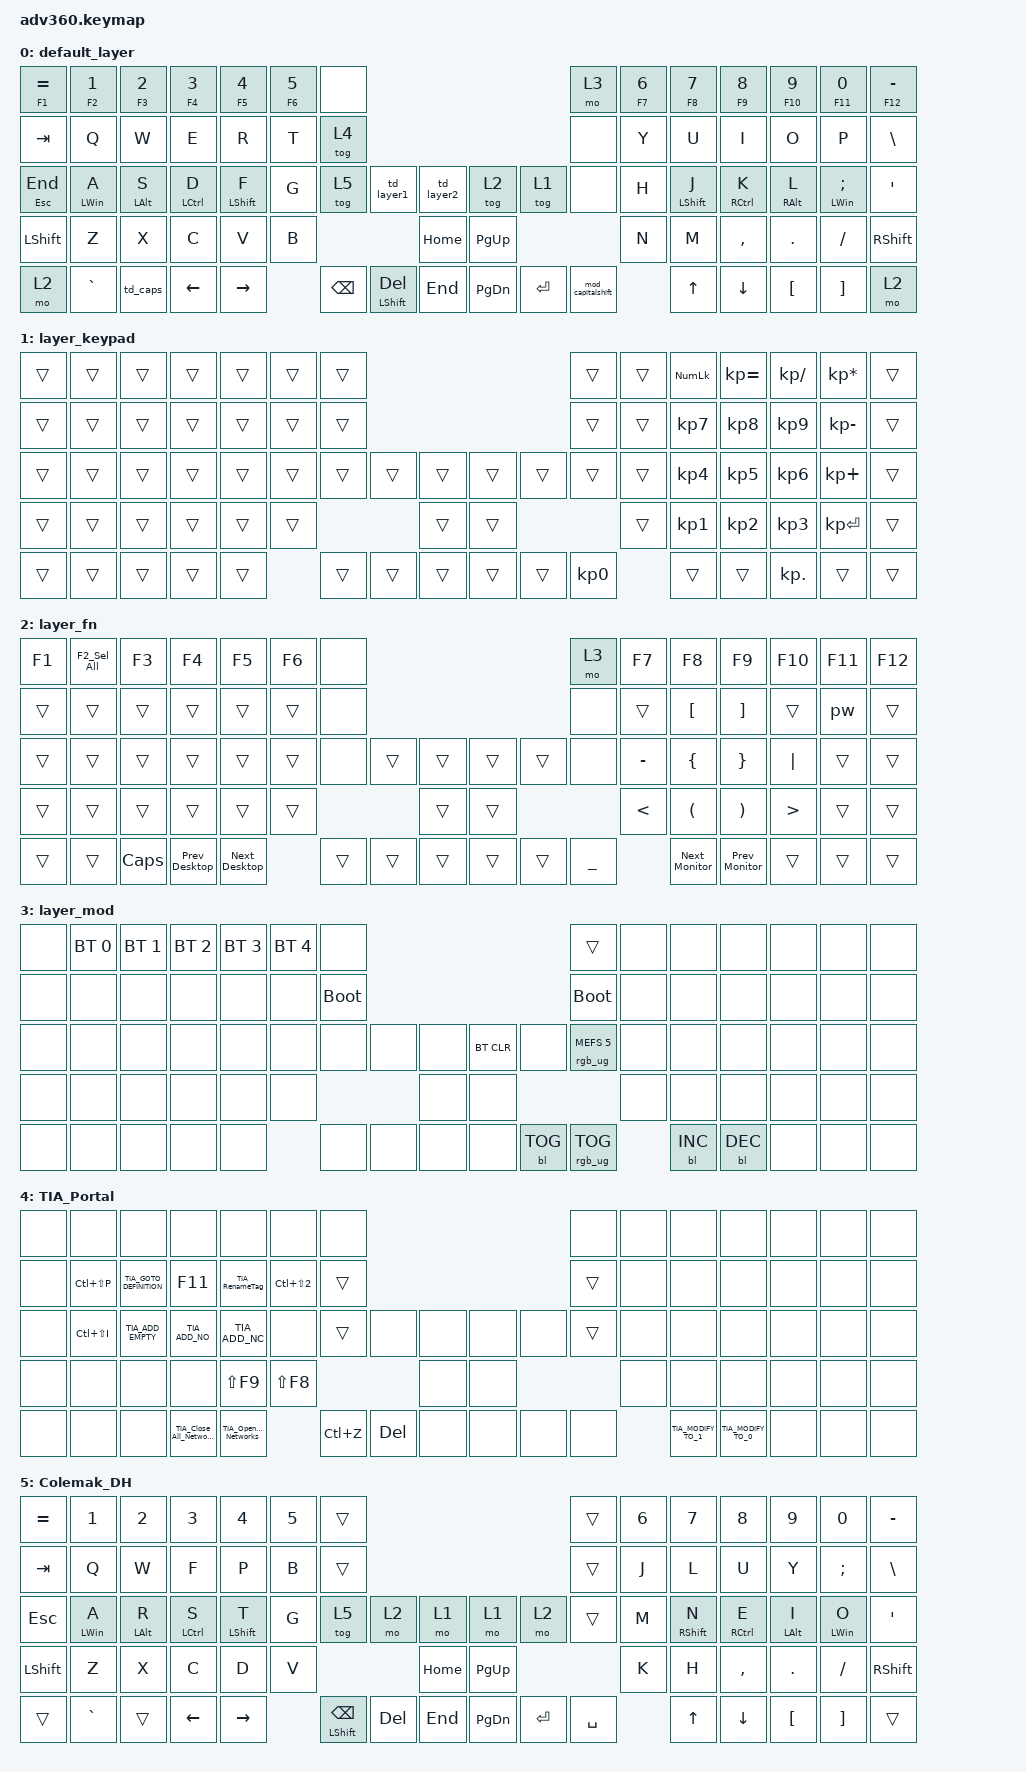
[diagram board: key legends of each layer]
/*
 * Copyright (c) 2020 The ZMK Contributors
 *
 * SPDX-License-Identifier: MIT
 */
/* THIS FILE WAS GENERATED!
 *
 * This file was generated automatically. You may or may not want to
 * edit it directly.
 */

#include <behaviors.dtsi>
#include <dt-bindings/zmk/backlight.h>
#include <dt-bindings/zmk/bt.h>
#include <dt-bindings/zmk/keys.h>
#include <dt-bindings/zmk/rgb.h>

/ {
    behaviors {
        #include "macros.dtsi"
    #include "version.dtsi"

        hm: homerow_mods {
            compatible = "zmk,behavior-hold-tap";
            label = "HOMEROW_MODS";
            #binding-cells = <2>;
            tapping-term-ms = <200>;
            quick_tap_ms = <175>;
            flavor = "tap-preferred";
            bindings = <&kp>, <&kp>;
        };

        mod_capitalshift: mod_capitalshift {
            compatible = "zmk,behavior-mod-morph";
            label = "MOD_CAPITALSHIFT";
            bindings = <&kp SPACE>, <&kp UNDERSCORE>;

            #binding-cells = <0>;
            mods = <(MOD_LSFT)>;
        };

        td_caps: td_caps {
            compatible = "zmk,behavior-tap-dance";
            label = "TD_CAPS";
            #binding-cells = <0>;
            bindings = <&caps_word>, <&kp CAPS>;
        };

        td_layer1: td_layer1 {
            compatible = "zmk,behavior-tap-dance";
            label = "TD_LAYER1";
            #binding-cells = <0>;
            bindings = <&mo 1>, <&tog 1>;
        };

        td_layer2: td_layer2 {
            compatible = "zmk,behavior-tap-dance";
            label = "TD_LAYER2";
            #binding-cells = <0>;
            bindings = <&mo 2>, <&tog 2>;
        };
    };

    macros {
        F2_Sel_All: F2_Sel_All {
            compatible = "zmk,behavior-macro";
            #binding-cells = <0>;
            bindings = <&macro_tap>, <&kp F2 &kp LC(A)>;

            label = "F2_SEL_ALL";
        };

        TIA_RenameTag: TIA_RenameTag {
            compatible = "zmk,behavior-macro";
            #binding-cells = <0>;
            bindings = <&kp LC(LS(T))>;
            label = "TIA_RENAMETAG";
        };

        TIA_Open_All_Networks: TIA_Open_All_Networks {
            compatible = "zmk,behavior-macro";
            #binding-cells = <0>;
            bindings = <&kp LA(F11)>;
            label = "TIA_OPEN_ALL_NETWORKS";
        };

        TIA_Close_All_Networks: TIA_Close_All_Networks {
            compatible = "zmk,behavior-macro";
            #binding-cells = <0>;
            bindings = <&kp LA(F12)>;
            label = "TIA_CLOSE_ALL_NETWORKS";
        };

        TIA_ADD_NO: TIA_ADD_NO {
            compatible = "zmk,behavior-macro";
            #binding-cells = <0>;
            bindings = <&kp F9>;
            label = "TIA_ADD_NO";
        };

        TIA_ADD_EMPTY: TIA_ADD_EMPTY {
            compatible = "zmk,behavior-macro";
            #binding-cells = <0>;
            bindings = <&kp F8>;
            label = "TIA_ADD_EMPTY";
        };

        TIA_ADD_NC: TIA_ADD_NC {
            compatible = "zmk,behavior-macro";
            #binding-cells = <0>;
            bindings = <&kp F10>;
            label = "TIA_ADD_NC";
        };

        TIA_GOTO_DEFINITION: TIA_GOTO_DEFINITION {
            compatible = "zmk,behavior-macro";
            #binding-cells = <0>;
            bindings = <&kp LC(LS(D))>;
            label = "TIA_GOTO_DEFINITION";
        };

        TIA_MODIFY_TO_1: TIA_MODIFY_TO_1 {
            compatible = "zmk,behavior-macro";
            #binding-cells = <0>;
            bindings = <&kp LC(F2)>;
            label = "TIA_MODIFY_TO_1";
        };

        TIA_MODIFY_TO_0: TIA_MODIFY_TO_0 {
            compatible = "zmk,behavior-macro";
            #binding-cells = <0>;
            bindings = <&kp LC(F3)>;
            label = "TIA_MODIFY_TO_0";
        };

        Next_Desktop: Next_Desktop {
            compatible = "zmk,behavior-macro";
            #binding-cells = <0>;
            bindings = <&kp LA(LCTRL) &kp LG(LC(RIGHT))>;
            label = "NEXT_DESKTOP";
        };

        Prev_Desktop: Prev_Desktop {
            compatible = "zmk,behavior-macro";
            #binding-cells = <0>;
            bindings = <&kp LA(LCTRL) &kp LG(LC(LEFT))>;
            label = "PREV_DESKTOP";
        };

        pw: pw {
            compatible = "zmk,behavior-macro";
            #binding-cells = <0>;
            bindings = <&none &kp E &kp N &kp G &kp I &kp N &kp E &kp E &kp R &kp I &kp N &kp G &kp LS(T) &kp E &kp A &kp M &kp N2 &kp N0 &kp N2>;
            label = "PW";
        };

        Next_Monitor: Next_Monitor {
            compatible = "zmk,behavior-macro";
            #binding-cells = <0>;
            bindings = <&kp LA(LCTRL) &kp LG(LS(RIGHT))>;
            label = "NEXT_MONITOR";
        };

        Prev_Monitor: Prev_Monitor {
            compatible = "zmk,behavior-macro";
            #binding-cells = <0>;
            bindings = <&kp LA(LCTRL) &kp LG(LS(LEFT))>;
            label = "PREV_MONITOR";
        };
    };

    keymap {
        compatible = "zmk,keymap";

        default_layer {
            bindings = <
&hm F1 EQUAL  &hm F2 N1       &hm F3 NUMBER_2  &hm F4 NUMBER_3  &hm F5 NUMBER_4   &hm F6 N5  &none                                                                    &mo 3              &hm F7 N6  &hm F8 N7         &hm F9 N8    &hm F10 N9       &hm F11 N0         &hm F12 MINUS
&kp TAB       &kp Q           &kp W            &kp E            &kp R             &kp T      &tog 4                                                                   &none              &kp Y      &kp U             &kp I        &kp O            &kp P              &kp BSLH
&hm ESC END   &hm LEFT_WIN A  &hm LEFT_ALT S   &hm LCTRL D      &hm LEFT_SHIFT F  &kp G      &tog 5         &td_layer1          &td_layer2      &tog 2     &tog 1     &none              &kp H      &hm LEFT_SHIFT J  &hm RCTRL K  &hm RIGHT_ALT L  &hm LEFT_WIN SEMI  &kp SQT
&kp LSHFT     &kp Z           &kp X            &kp C            &kp V             &kp B                                         &kp HOME        &kp PG_UP                                &kp N      &kp M             &kp COMMA    &kp DOT          &kp FSLH           &kp RSHFT
&mo 2         &kp GRAVE       &td_caps         &kp LEFT         &kp RIGHT                    &kp BACKSPACE  &hm LEFT_SHIFT DEL  &kp END         &kp PG_DN  &kp ENTER  &mod_capitalshift             &kp UP            &kp DOWN     &kp LBKT         &kp RBKT           &mo 2
            >;
        };

        layer_keypad {
            bindings = <
&trans  &trans  &trans  &trans  &trans  &trans  &trans                                      &trans     &trans  &kp KP_NUM  &kp KP_EQUAL  &kp KP_DIVIDE  &kp KP_MULTIPLY  &trans
&trans  &trans  &trans  &trans  &trans  &trans  &trans                                      &trans     &trans  &kp KP_N7   &kp KP_N8     &kp KP_N9      &kp KP_MINUS     &trans
&trans  &trans  &trans  &trans  &trans  &trans  &trans  &trans  &trans      &trans  &trans  &trans     &trans  &kp KP_N4   &kp KP_N5     &kp KP_N6      &kp KP_PLUS      &trans
&trans  &trans  &trans  &trans  &trans  &trans                  &trans      &trans                     &trans  &kp KP_N1   &kp KP_N2     &kp KP_N3      &kp KP_ENTER     &trans
&trans  &trans  &trans  &trans  &trans          &trans  &trans  &trans      &trans  &trans  &kp KP_N0          &trans      &trans        &kp KP_DOT     &trans           &trans
            >;
        };

        layer_fn {
            bindings = <
&kp F1  &F2_Sel_All  &kp F3    &kp F4         &kp F5         &kp F6  &none                                       &mo 3           &kp F7         &kp F8                &kp F9                 &kp F10           &kp F11  &kp F12
&trans  &trans       &trans    &trans         &trans         &trans  &none                                       &none           &trans         &kp LEFT_BRACKET      &kp RIGHT_BRACKET      &trans            &pw      &trans
&trans  &trans       &trans    &trans         &trans         &trans  &none   &trans  &trans      &trans  &trans  &none           &kp MINUS      &kp LEFT_BRACE        &kp RIGHT_BRACE        &kp PIPE          &trans   &trans
&trans  &trans       &trans    &trans         &trans         &trans                  &trans      &trans                          &kp LESS_THAN  &kp LEFT_PARENTHESIS  &kp RIGHT_PARENTHESIS  &kp GREATER_THAN  &trans   &trans
&trans  &trans       &kp CAPS  &Prev_Desktop  &Next_Desktop          &trans  &trans  &trans      &trans  &trans  &kp UNDERSCORE                 &Next_Monitor         &Prev_Monitor          &trans            &trans   &trans
            >;
        };

        layer_mod {
            bindings = <
&none  &bt BT_SEL 0  &bt BT_SEL 1  &bt BT_SEL 2  &bt BT_SEL 3  &bt BT_SEL 4  &none                                                  &trans                  &none  &none       &none       &none  &none  &none
&none  &none         &none         &none         &none         &none         &bootloader                                            &bootloader             &none  &none       &none       &none  &none  &none
&none  &none         &none         &none         &none         &none         &none        &none  &none      &bt BT_CLR  &none       &rgb_ug RGB_MEFS_CMD 5  &none  &none       &none       &none  &none  &none
&none  &none         &none         &none         &none         &none                             &none      &none                                           &none  &none       &none       &none  &none  &none
&none  &none         &none         &none         &none                       &none        &none  &none      &none       &bl BL_TOG  &rgb_ug RGB_TOG                &bl BL_INC  &bl BL_DEC  &none  &none  &none
            >;
        };

        TIA_Portal {
            bindings = <
&none  &none          &none                 &none                    &none                   &none                 &none                                           &none   &none  &none             &none             &none  &none  &none
&none  &kp LC(LS(P))  &TIA_GOTO_DEFINITION  &kp F11                  &TIA_RenameTag          &kp LC(LS(NUMBER_2))  &trans                                          &trans  &none  &none             &none             &none  &none  &none
&none  &kp LC(LS(I))  &TIA_ADD_EMPTY        &TIA_ADD_NO              &TIA_ADD_NC             &none                 &trans     &none       &none      &none  &none  &trans  &none  &none             &none             &none  &none  &none
&none  &none          &none                 &none                    &kp LS(F9)              &kp LS(F8)                                   &none      &none                 &none  &none             &none             &none  &none  &none
&none  &none          &none                 &TIA_Close_All_Networks  &TIA_Open_All_Networks                        &kp LC(Z)  &kp DELETE  &none      &none  &none  &none          &TIA_MODIFY_TO_1  &TIA_MODIFY_TO_0  &none  &none  &none
            >;
        };

        Colemak_DH {
            bindings = <
&kp EQUAL  &kp N1          &kp N2          &kp N3              &kp N4            &kp N5  &trans                                                               &trans     &kp N6  &kp N7             &kp N8       &kp N9          &kp N0          &kp MINUS
&kp TAB    &kp Q           &kp W           &kp F               &kp P             &kp B   &trans                                                               &trans     &kp J   &kp L              &kp U        &kp Y           &kp SEMI        &kp BSLH
&kp ESC    &hm LEFT_WIN A  &hm LEFT_ALT R  &hm LEFT_CONTROL S  &hm LEFT_SHIFT T  &kp G   &tog 5                    &mo 2    &mo 1         &mo 1      &mo 2    &trans     &kp M   &hm RIGHT_SHIFT N  &hm RCTRL E  &hm LEFT_ALT I  &hm LEFT_WIN O  &kp SQT
&kp LSHFT  &kp Z           &kp X           &kp C               &kp D             &kp V                                      &kp HOME      &kp PG_UP                      &kp K   &kp H              &kp COMMA    &kp DOT         &kp FSLH        &kp RSHFT
&trans     &kp GRAVE       &trans          &kp LEFT            &kp RIGHT                 &hm LEFT_SHIFT BACKSPACE  &kp DEL  &kp END       &kp PG_DN  &kp RET  &kp SPACE          &kp UP             &kp DOWN     &kp LBKT        &kp RBKT        &trans
            >;
        };
    };
};
